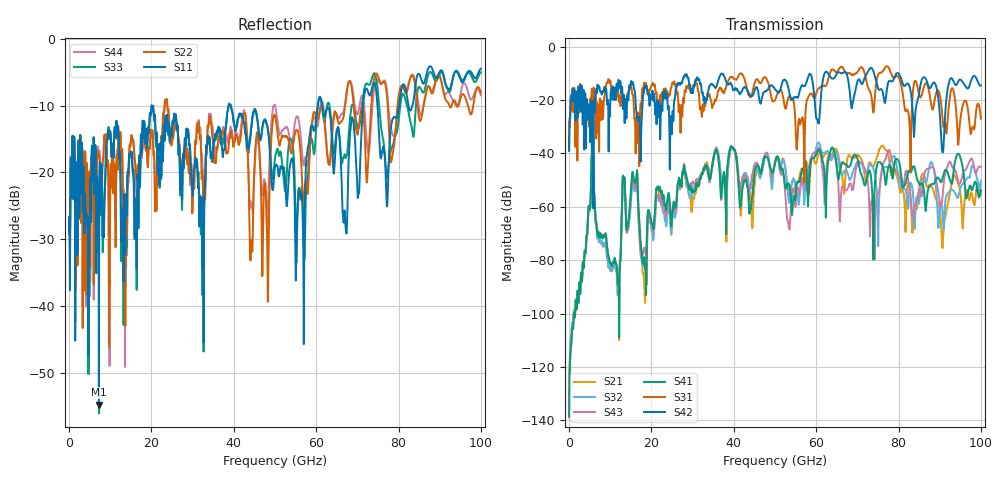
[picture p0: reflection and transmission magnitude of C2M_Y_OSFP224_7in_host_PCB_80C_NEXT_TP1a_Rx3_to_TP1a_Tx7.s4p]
# GHz S RI R 45
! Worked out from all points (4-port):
!   4000 points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, 25 MHz to 100 GHz, reference 45 ohm
!   strongest paths, dB at 25 MHz, 25.02 GHz, 50.02 GHz, 75.03 GHz, 100 GHz:
!     S42: -38.9, -28.8, -16.1, -15.6, -14.6
!     S31: -39.0, -14.0, -20.0, -10.6, -26.9
!     S41: -138.4, -63.4, -43.7, -43.4, -53.8
!     S43: -138.9, -62.9, -43.1, -54.7, -45.1
!     S32: -134.5, -64.7, -43.1, -70.6, -50.3
!     S21: -134.4, -65.6, -42.9, -39.9, -55.4
!   lowest |S11| = -54.7 dB at 7.25 GHz (marker M1), VSWR 1.00, Z = 44.9 + j0.122 ohm
!   |S11| at or under -10 dB: start of sweep to 20.02 GHz; 20.08 GHz to 38.75 GHz (18.67 GHz wide, 63.5 % of centre); 39.33 GHz to 60.37 GHz (21.04 GHz wide, 42.2 % of centre) (the widest 3 of 7)
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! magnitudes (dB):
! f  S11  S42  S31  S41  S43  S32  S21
! 25 MHz  -28.8  -38.9  -39.0  -138.4  -138.9  -134.5  -134.4
! 5.7 GHz  -19.5  -21.0  -19.2  -39.8  -39.8  -40.0  -40.1
! 7.25 GHz  -54.7  -15.0  -28.8  -71.2  -71.1  -72.9  -73.0
! 39.73 GHz  -11.2  -15.7  -11.5  -37.7  -37.6  -38.2  -38.2
! 53.27 GHz  -21.6  -15.6  -18.9  -51.2  -66.6  -57.2  -55.0
! 60.4 GHz  -9.8  -28.0  -16.0  -39.0  -38.0  -36.0  -41.1
! 100 GHz  -4.5  -14.6  -26.9  -53.8  -45.1  -50.3  -55.4
